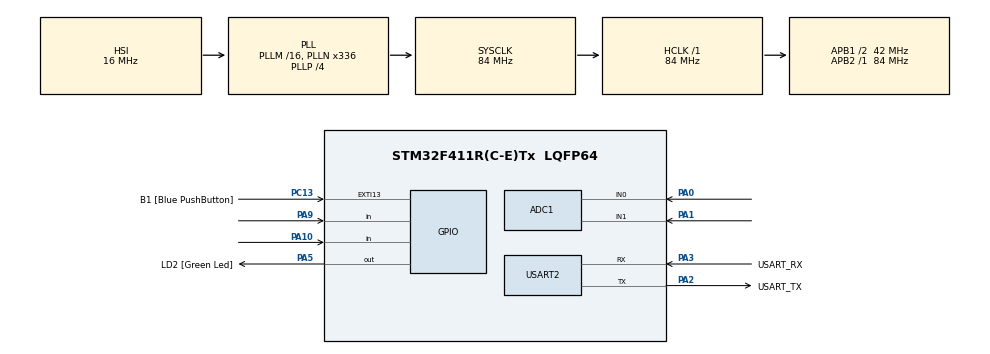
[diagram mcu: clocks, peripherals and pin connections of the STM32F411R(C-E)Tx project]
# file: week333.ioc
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ADC1.Channel-0\#ChannelRegularConversion=ADC_CHANNEL_0
ADC1.NbrOfConversionFlag=1
ADC1.Rank-0\#ChannelRegularConversion=1
ADC1.SamplingTime-0\#ChannelRegularConversion=ADC_SAMPLETIME_3CYCLES
ADC1.master=1
Mcu.Family=STM32F4
Mcu.Name=STM32F411R(C-E)Tx
Mcu.Package=LQFP64
NVIC.PriorityGroup=NVIC_PRIORITYGROUP_0
PA0-WKUP.Signal=ADCx_IN0
PA1.Signal=ADCx_IN1
PA10.Signal=GPIO_Input
PA13.GPIO_Label=TMS
PA13.Mode=Serial_Wire
PA13.Signal=SYS_JTMS-SWDIO
PA14.GPIO_Label=TCK
PA14.Mode=Serial_Wire
PA14.Signal=SYS_JTCK-SWCLK
PA2.GPIO_Label=USART_TX
PA2.Mode=Asynchronous
PA2.Signal=USART2_TX
PA3.GPIO_Label=USART_RX
PA3.Mode=Asynchronous
PA3.Signal=USART2_RX
PA5.GPIO_Label=LD2 [Green Led]
PA5.Signal=GPIO_Output
PA9.Signal=GPIO_Input
PB3.GPIO_Label=SWO
PB3.Signal=SYS_JTDO-SWO
PC13-ANTI_TAMP.GPIO_Label=B1 [Blue PushButton]
PC13-ANTI_TAMP.GPIO_ModeDefaultEXTI=GPIO_MODE_IT_FALLING
PC13-ANTI_TAMP.Signal=GPXTI13
PC14-OSC32_IN.Mode=LSE-External-Oscillator
PC14-OSC32_IN.Signal=RCC_OSC32_IN
PC15-OSC32_OUT.Mode=LSE-External-Oscillator
PC15-OSC32_OUT.Signal=RCC_OSC32_OUT
PH0\ -\ OSC_IN.Mode=HSE-External-Clock-Source
PH0\ -\ OSC_IN.Signal=RCC_OSC_IN
PH1\ -\ OSC_OUT.Mode=HSE-External-Clock-Source
PH1\ -\ OSC_OUT.Signal=RCC_OSC_OUT
ProjectManager.HeapSize=0x200
ProjectManager.StackSize=0x400
ProjectManager.TargetToolchain=STM32CubeIDE
RCC.48MHZClocksFreq_Value=84000000
RCC.AHBFreq_Value=84000000
RCC.APB1CLKDivider=RCC_HCLK_DIV2
RCC.APB1Freq_Value=42000000
RCC.APB1TimFreq_Value=84000000
RCC.APB2Freq_Value=84000000
RCC.APB2TimFreq_Value=84000000
RCC.CortexFreq_Value=84000000
RCC.FLatency-AdvancedSettings=FLASH_LATENCY_2
RCC.HCLKFreq_Value=84000000
RCC.HSE_VALUE=8000000
RCC.HSI_VALUE=16000000
RCC.PLLN=336
RCC.PLLP=RCC_PLLP_DIV4
RCC.SYSCLKFreq_VALUE=84000000
RCC.SYSCLKSource=RCC_SYSCLKSOURCE_PLLCLK
RCC.VCOOutputFreq_Value=336000000
SH.ADCx_IN0.0=ADC1_IN0,IN0
SH.ADCx_IN1.0=ADC1_IN1,IN1
USART2.VirtualMode=VM_ASYNC
VP_ADC1_TempSens_Input.Mode=IN-TempSens
board=NUCLEO-F411RE

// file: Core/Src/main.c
/* USER CODE BEGIN Header */
/**
 ****************************************************************************
 * @file           : main.c
 * @brief          : Main program body
 ****************************************************************************
 * @attention
 *
 * <h2><center>&copy; Copyright (c) 2021 STMicroelectronics.
 * All rights reserved.</center></h2>
 *
 * This software component is licensed by ST under BSD 3-Clause license,
 * the "License"; You may not use this file except in compliance with the
 * License. You may obtain a copy of the License at:
 *                        opensource.org/licenses/BSD-3-Clause
 *
 ****************************************************************************
 */
/* USER CODE END Header */
#include "main.h"

ADC_HandleTypeDef hadc1;

UART_HandleTypeDef huart2;

/* USER CODE BEGIN PV */
uint16_t adcdata[2] = { 0 };

typedef struct {
	ADC_ChannelConfTypeDef Config;
	uint32_t data;
} ADCStructure;

ADCStructure ADCChannel[3] = { 0 };

float ADCSOutputConverted = 0;
int ADCMode = 0;

uint32_t ButtonTimeStamp = 0;
GPIO_PinState SwitchState[2]={0};

/* USER CODE END PV */

void SystemClock_Config(void);
static void MX_GPIO_Init(void);
static void MX_USART2_UART_Init(void);
static void MX_ADC1_Init(void);
/* USER CODE BEGIN PFP */
void ADCPollingMethodInit();//
void ADCPollingMethodUpdate(); // Read ADC
/* USER CODE END PFP */

int main(void)
{

  /* MCU Configuration--------------------------------------------------------*/

  /* Reset of all peripherals, Initializes the Flash interface and the Systick. */
  HAL_Init();

  /* Configure the system clock */
  SystemClock_Config();

  /* Initialize all configured peripherals */
  MX_GPIO_Init();
  MX_USART2_UART_Init();
  MX_ADC1_Init();
  /* USER CODE BEGIN 2 */
	ADCPollingMethodInit();

  /* USER CODE END 2 */

  /* Infinite loop */
  /* USER CODE BEGIN WHILE */
	while (1) {

		if (HAL_GetTick() - ButtonTimeStamp >= 100) //ms
		{
		ButtonTimeStamp = HAL_GetTick();
		SwitchState[0] = HAL_GPIO_ReadPin(GPIOA, GPIO_PIN_9);

				if(SwitchState[1]== GPIO_PIN_SET && SwitchState[0]== GPIO_PIN_RESET)
				{
					if (ADCMode == 0) {ADCMode = 1;}
					else if (ADCMode == 1) {ADCMode = 0;}
				}

		SwitchState[1] = SwitchState[0];
		}

		if (ADCMode == 0)
		{
			ADCSOutputConverted = ( ((3.3 / 4096)* ADCChannel[0].data) * 1000);
		}
		else if (ADCMode == 1)
		{
			ADCSOutputConverted = (((ADCChannel[2].data * 3.3) / 4096) - 0.76)/ 0.0025 + 25;
		}

    /* USER CODE END WHILE */

    /* USER CODE BEGIN 3 */

		ADCPollingMethodUpdate();
	}
  /* USER CODE END 3 */
}

void SystemClock_Config(void)
{
  RCC_OscInitTypeDef RCC_OscInitStruct = {0};
  RCC_ClkInitTypeDef RCC_ClkInitStruct = {0};

  /** Configure the main internal regulator output voltage
  */
  __HAL_RCC_PWR_CLK_ENABLE();
  __HAL_PWR_VOLTAGESCALING_CONFIG(PWR_REGULATOR_VOLTAGE_SCALE1);
  /** Initializes the RCC Oscillators according to the specified parameters
  * in the RCC_OscInitTypeDef structure.
  */
  RCC_OscInitStruct.OscillatorType = RCC_OSCILLATORTYPE_HSI;
  RCC_OscInitStruct.HSIState = RCC_HSI_ON;
  RCC_OscInitStruct.HSICalibrationValue = RCC_HSICALIBRATION_DEFAULT;
  RCC_OscInitStruct.PLL.PLLState = RCC_PLL_ON;
  RCC_OscInitStruct.PLL.PLLSource = RCC_PLLSOURCE_HSI;
  RCC_OscInitStruct.PLL.PLLM = 16;
  RCC_OscInitStruct.PLL.PLLN = 336;
  RCC_OscInitStruct.PLL.PLLP = RCC_PLLP_DIV4;
  RCC_OscInitStruct.PLL.PLLQ = 4;
  if (HAL_RCC_OscConfig(&RCC_OscInitStruct) != HAL_OK)
  {
    Error_Handler();
  }
  /** Initializes the CPU, AHB and APB buses clocks
  */
  RCC_ClkInitStruct.ClockType = RCC_CLOCKTYPE_HCLK|RCC_CLOCKTYPE_SYSCLK
                              |RCC_CLOCKTYPE_PCLK1|RCC_CLOCKTYPE_PCLK2;
  RCC_ClkInitStruct.SYSCLKSource = RCC_SYSCLKSOURCE_PLLCLK;
  RCC_ClkInitStruct.AHBCLKDivider = RCC_SYSCLK_DIV1;
  RCC_ClkInitStruct.APB1CLKDivider = RCC_HCLK_DIV2;
  RCC_ClkInitStruct.APB2CLKDivider = RCC_HCLK_DIV1;

  if (HAL_RCC_ClockConfig(&RCC_ClkInitStruct, FLASH_LATENCY_2) != HAL_OK)
  {
    Error_Handler();
  }
}

static void MX_ADC1_Init(void)
{

  ADC_ChannelConfTypeDef sConfig = {0};

  /** Configure the global features of the ADC (Clock, Resolution, Data Alignment and number of conversion)
  */
  hadc1.Instance = ADC1;
  hadc1.Init.ClockPrescaler = ADC_CLOCK_SYNC_PCLK_DIV4;
  hadc1.Init.Resolution = ADC_RESOLUTION_12B;
  hadc1.Init.ScanConvMode = DISABLE;
  hadc1.Init.ContinuousConvMode = DISABLE;
  hadc1.Init.DiscontinuousConvMode = DISABLE;
  hadc1.Init.ExternalTrigConvEdge = ADC_EXTERNALTRIGCONVEDGE_NONE;
  hadc1.Init.ExternalTrigConv = ADC_SOFTWARE_START;
  hadc1.Init.DataAlign = ADC_DATAALIGN_RIGHT;
  hadc1.Init.NbrOfConversion = 1;
  hadc1.Init.DMAContinuousRequests = DISABLE;
  hadc1.Init.EOCSelection = ADC_EOC_SINGLE_CONV;
  if (HAL_ADC_Init(&hadc1) != HAL_OK)
  {
    Error_Handler();
  }
  /** Configure for the selected ADC regular channel its corresponding rank in the sequencer and its sample time.
  */
  sConfig.Channel = ADC_CHANNEL_0;
  sConfig.Rank = 1;
  sConfig.SamplingTime = ADC_SAMPLETIME_3CYCLES;
  if (HAL_ADC_ConfigChannel(&hadc1, &sConfig) != HAL_OK)
  {
    Error_Handler();
  }

}

static void MX_USART2_UART_Init(void)
{

  huart2.Instance = USART2;
  huart2.Init.BaudRate = 115200;
  huart2.Init.WordLength = UART_WORDLENGTH_8B;
  huart2.Init.StopBits = UART_STOPBITS_1;
  huart2.Init.Parity = UART_PARITY_NONE;
  huart2.Init.Mode = UART_MODE_TX_RX;
  huart2.Init.HwFlowCtl = UART_HWCONTROL_NONE;
  huart2.Init.OverSampling = UART_OVERSAMPLING_16;
  if (HAL_UART_Init(&huart2) != HAL_OK)
  {
    Error_Handler();
  }

}

static void MX_GPIO_Init(void)
{
  GPIO_InitTypeDef GPIO_InitStruct = {0};

  /* GPIO Ports Clock Enable */
  __HAL_RCC_GPIOC_CLK_ENABLE();
  __HAL_RCC_GPIOH_CLK_ENABLE();
  __HAL_RCC_GPIOA_CLK_ENABLE();
  __HAL_RCC_GPIOB_CLK_ENABLE();

  /*Configure GPIO pin Output Level */
  HAL_GPIO_WritePin(LD2_GPIO_Port, LD2_Pin, GPIO_PIN_RESET);

  /*Configure GPIO pin : B1_Pin */
  GPIO_InitStruct.Pin = B1_Pin;
  GPIO_InitStruct.Mode = GPIO_MODE_IT_FALLING;
  GPIO_InitStruct.Pull = GPIO_NOPULL;
  HAL_GPIO_Init(B1_GPIO_Port, &GPIO_InitStruct);

  /*Configure GPIO pin : LD2_Pin */
  GPIO_InitStruct.Pin = LD2_Pin;
  GPIO_InitStruct.Mode = GPIO_MODE_OUTPUT_PP;
  GPIO_InitStruct.Pull = GPIO_NOPULL;
  GPIO_InitStruct.Speed = GPIO_SPEED_FREQ_LOW;
  HAL_GPIO_Init(LD2_GPIO_Port, &GPIO_InitStruct);

  /*Configure GPIO pins : PA9 PA10 */
  GPIO_InitStruct.Pin = GPIO_PIN_9|GPIO_PIN_10;
  GPIO_InitStruct.Mode = GPIO_MODE_INPUT;
  GPIO_InitStruct.Pull = GPIO_NOPULL;
  HAL_GPIO_Init(GPIOA, &GPIO_InitStruct);

}

/* USER CODE BEGIN 4 */
void ADCPollingMethodInit() {
	//config all ADC Channel
	ADCChannel[0].Config.Channel = ADC_CHANNEL_0;
	ADCChannel[0].Config.Rank = 1;
	ADCChannel[0].Config.SamplingTime = ADC_SAMPLETIME_3CYCLES;

	ADCChannel[1].Config.Channel = ADC_CHANNEL_1;
	ADCChannel[1].Config.Rank = 1;
	ADCChannel[1].Config.SamplingTime = ADC_SAMPLETIME_3CYCLES;

	ADCChannel[2].Config.Channel = ADC_CHANNEL_TEMPSENSOR;
	ADCChannel[2].Config.Rank = 1;
	ADCChannel[2].Config.SamplingTime = ADC_SAMPLETIME_3CYCLES;
}
//Polling Method
void ADCPollingMethodUpdate() {

	for (int i = 0; i <3; i++)
	{
		HAL_ADC_ConfigChannel(&hadc1, &ADCChannel[i].Config);
		HAL_ADC_Start(&hadc1);

		if (HAL_ADC_PollForConversion(&hadc1, 10) == HAL_OK)
		{
			ADCChannel[i].data = HAL_ADC_GetValue(&hadc1);
		}

		HAL_ADC_Stop(&hadc1);
	}

}
/* USER CODE END 4 */

void Error_Handler(void)
{
	__disable_irq();
	while (1) {
	}
}

/************************ (C) COPYRIGHT STMicroelectronics *****END OF FILE****/
